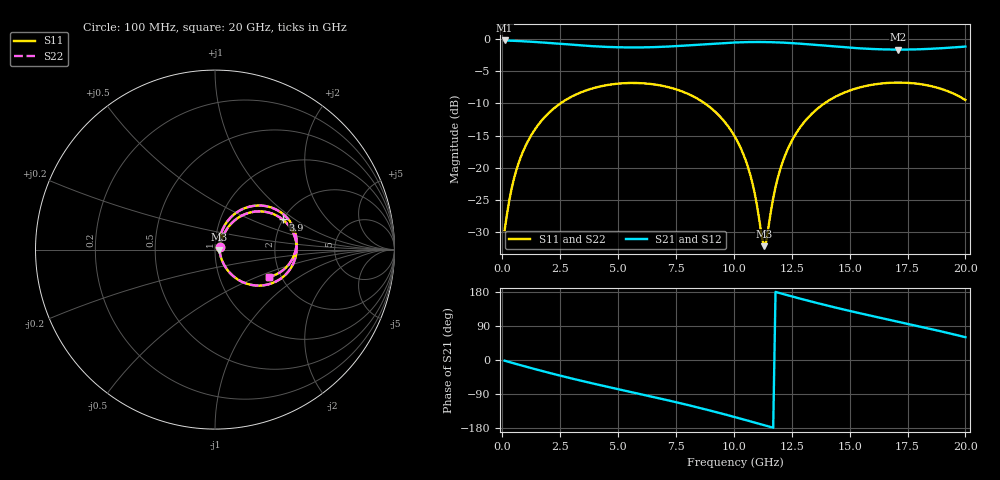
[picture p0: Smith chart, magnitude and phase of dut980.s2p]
! Touchstone file exported from HFSS 2026.1.0
!  File:  C:/ffzhzh/LocalFiles/Ansys_Project_Files/temp_train_TSV_RDL_980_1783286768_5512.aedt
!  Generated:  05:44:01 AM Jul  6, 2026
!  Design:  TSV_RDL
!  Project:  temp_train_TSV_RDL_980_1783286768_5512
! Variables:
!  h_bsmrdl = 5.73um
!  h_ox = 20um
!  h_rdl = 5um
!  h_sub = 85.29um
!  h_tmrdl = 3.03um
!  h_tsv = 85.29um
!  h_via = 3um
!  l_bsmrdl = 226.86um
!  l_sub = 5016.26um
!  l_tmrdl = 957.1um
!  m_sub = 200um
!  pitch = 36.32um
!  r_tsv = 8.14um
!  s_tmrdl = 10um
!  w_bsmrdl = 18.28um
!  w_sub = 500um
!  w_tmrdl = 17.48um
!  x_tsv_center1 = 965.84um
!  x_tsv_center2 = 1210.98um
!  x_tsv_center3 = 2185.56um
!  x_tsv_center4 = 2430.7um
!  x_tsv_center5 = 3405.28um
!  x_tsv_center6 = 3650.42um
# GHz S MA R 50.000000
! Terminal data exported
! Port[1] = TM_RDL1_1_T1
! Port[2] = TM_RDL5_1_T1
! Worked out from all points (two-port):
!   200 points, 100 MHz to 20 GHz, reference 50 ohm
!   highest |S21| = -0.25 dB at 100 MHz (marker M1); lowest = -1.7 dB at 17.1 GHz (marker M2)
!   |S21| within 3 dB of the highest: start of sweep to end of sweep
!   lowest |S11| = -32.1 dB at 11.3 GHz (marker M3), VSWR 1.05, Z = 52.5 - j0.0647 ohm
!   |S11| at or under -10 dB: start of sweep to 2.516 GHz; 8.743 GHz to 13.92 GHz (5.173 GHz wide, 45.7 % of centre)
!   |S22| runs from -32.1 to -6.8 dB; largest |S21 - S12| = 1.8e-14
!   S11 on the Smith chart (normalised r, x): 100 MHz: 1.06, +0.03; 3.9 GHz: 1.99, +0.81; 20 GHz: 1.72, -0.59
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0.1  0.03288 27.4  0.9712 -1.8  0.9712 -1.8  0.03288 27.4
! Gamma 0 0 0 0
! Port Impedance 50 0 50 0
0.5  0.08182 58.0  0.965 -8.8  0.965 -8.8  0.08182 58.0
1.2  0.1726 57.9  0.9507 -20.6  0.9507 -20.6  0.1726 57.9
2.2  0.2861 46.4  0.9232 -36.7  0.9232 -36.7  0.2861 46.4
3.5  0.391 29.2  0.8861 -56.1  0.8861 -56.1  0.391 29.2
3.9  0.413 24.0  0.8768 -61.8  0.8768 -61.8  0.413 24.0
5.4  0.4542 4.7  0.8576 -82.4  0.8576 -82.4  0.4542 4.7
6.8  0.436 -13.3  0.8655 -101.4  0.8655 -101.4  0.436 -13.3
8.8  0.311 -40.1  0.9091 -130.6  0.9091 -130.6  0.311 -40.1
10.1  0.1673 -56.5  0.9374 -151.6  0.9374 -151.6  0.1673 -56.4
10.8  0.07646 -57.6  0.9444 -163.4  0.9444 -163.4  0.07648 -57.5
11.3  0.02469 -1.4  0.9443 -171.9  0.9443 -171.9  0.02481 -1.4
11.4  0.02687 28.0  0.9437 -173.6  0.9437 -173.6  0.02699 27.9
11.8  0.07086 67.0  0.9396 179.6  0.9396 179.6  0.07092 66.9
12.1  0.11 69.5  0.9348 174.6  0.9348 174.6  0.11 69.4
12.7  0.1861 65.2  0.9214 164.6  0.9214 164.6  0.1862 65.1
13.4  0.2658 56.7  0.9013 153.4  0.9013 153.4  0.2659 56.6
14.9  0.3911 36.9  0.8565 131.0  0.8565 131.0  0.3911 36.9
16.7  0.4557 14.2  0.8263 106.3  0.8263 106.3  0.4557 14.2
17.1  0.4579 9.2  0.825 100.9  0.825 100.9  0.4579 9.2
18.5  0.4305 -8.1  0.8366 81.9  0.8366 81.9  0.4305 -8.2
20  0.3356 -27.2  0.8707 60.1  0.8707 60.1  0.3356 -27.2
